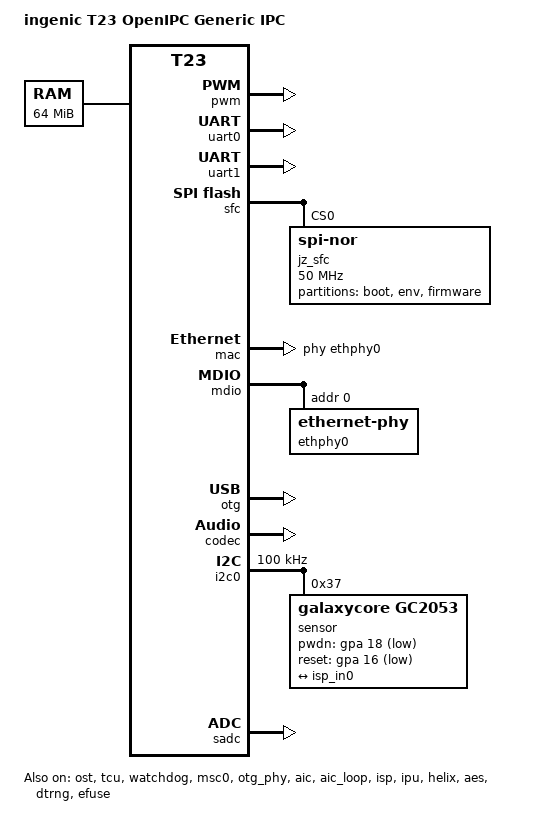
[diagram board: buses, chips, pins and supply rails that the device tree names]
// SPDX-License-Identifier: GPL-2.0
// Copyright (C) 2026 Difan Zhang
/dts-v1/;

#include "t23.dtsi"
#include <dt-bindings/gpio/gpio.h>

/ {
	model = "ingenic T23 OpenIPC Generic IPC";
	compatible = "openipc,t23", "ingenic,t23";

	aliases {
		serial0 = &uart0;
		serial1 = &uart1;
		serial2 = &uart2;
	};

	chosen {
		bootargs = "console=ttyS1,115200n8 root=/dev/mtdblock4 rootfstype=squashfs init=/init";
		stdout-path = "serial1:115200n8";
	};

	memory@0 {
		device_type = "memory";
		reg = <0x00000000 0x04000000>;
	};

	reserved-memory {
		#address-cells = <1>;
		#size-cells = <1>;
		ranges;

		camera {
			compatible = "shared-dma-pool";
			size = <0x01800000>;
			alloc-ranges = <0x02800000 0x01800000>;
			reusable;
			linux,cma-default;
		};
	};

	sound {
		compatible = "simple-audio-card";
		simple-audio-card,name = "t23-audio";
		#address-cells = <1>;
		#size-cells = <0>;

		simple-audio-card,widgets =
			"Speaker", "Speaker",
			"Microphone", "Mic";
		simple-audio-card,routing =
			"Speaker", "LOUT",
			"Speaker", "ROUT",
			"MICIN", "Mic";

		simple-audio-card,dai-link@0 {
			reg = <0>;
			format = "i2s";
			bitclock-master = <&sound_codec>;
			frame-master = <&sound_codec>;

			cpu {
				sound-dai = <&aic>;
			};

			sound_codec: codec {
				sound-dai = <&codec 0>;
			};
		};

		simple-audio-card,dai-link@1 {
			reg = <1>;

			cpu {
				sound-dai = <&aic_loop>;
			};

			codec {
				sound-dai = <&codec 1>;
			};
		};
	};
};

&pinctrl {
	status = "okay";
};

&ost {
	status = "okay";
};

&tcu {
	status = "okay";
};

&pwm {
	status = "okay";
};

&watchdog {
	status = "okay";
};

&pdma {
	status = "okay";
};

&uart0 {
	pinctrl-names = "default";
	pinctrl-0 = <&pins_uart0_b>;
	status = "okay";
};

&uart1 {
	pinctrl-names = "default";
	pinctrl-0 = <&pins_uart1_b>;
	status = "okay";
};

&sfc {
	pinctrl-names = "default";
	pinctrl-0 = <&pins_sfc>;
	status = "okay";

	flash@0 {
		compatible = "jedec,spi-nor";
		reg = <0>;
		label = "jz_sfc";
		spi-max-frequency = <50000000>;
		spi-rx-bus-width = <2>;
		spi-tx-bus-width = <2>;

		partitions {
			compatible = "fixed-partitions";
			#address-cells = <1>;
			#size-cells = <1>;

			partition@0 {
				label = "boot";
				reg = <0x000000 0x040000>;
			};

			partition@40000 {
				label = "env";
				reg = <0x040000 0x010000>;
			};

			partition@50000 {
				compatible = "openipc,uimage-firmware";
				reg = <0x050000 0x0>;
				label = "firmware";
			};
		};
	};
};

&msc0 {
	pinctrl-names = "default";
	pinctrl-0 = <&pins_mmc0>;
	bus-width = <4>;
	max-frequency = <25000000>;
	cd-gpios = <&gpb 27 GPIO_ACTIVE_LOW>;
	status = "okay";
};

&mac {
	phy-handle = <&ethphy0>;
	status = "okay";
};

&mdio {
	status = "okay";

	ethphy0: ethernet-phy@0 {
		reg = <0>;
	};
};

&otg_phy {
	status = "okay";
};

&otg {
	status = "okay";
};

&aic {
	status = "okay";
};

&aic_loop {
	status = "okay";
};

&codec {
	status = "okay";
};

&i2c0 {
	pinctrl-names = "default";
	pinctrl-0 = <&pins_i2c0>;
	clock-frequency = <100000>;
	status = "okay";

	sensor@37 {
		compatible = "galaxycore,gc2053";
		reg = <0x37>;
		clocks = <&cgu CLK_CGU_CIM>;
		clock-names = "xvclk";
		pwdn-gpios = <&gpa 18 GPIO_ACTIVE_LOW>;
		reset-gpios = <&gpa 16 GPIO_ACTIVE_LOW>;

		port {
			gc2053_out: endpoint {
				remote-endpoint = <&isp_in0>;
				clock-lanes = <0>;
				data-lanes = <1 2>;
				link-frequencies = /bits/ 64 <297000000>;
			};
		};
	};
};

&isp {
	assigned-clocks = <&cgu CLK_CGU_ISP>;
	assigned-clock-parents = <&cgu CLK_SCLKA>;
	assigned-clock-rates = <240000000>;
	pinctrl-names = "default";
	pinctrl-0 = <&pins_cim_mclk>;
	status = "okay";

	ports {
		#address-cells = <1>;
		#size-cells = <0>;

		port@0 {
			reg = <0>;
			isp_in0: endpoint {
				remote-endpoint = <&gc2053_out>;
				clock-lanes = <0>;
				data-lanes = <1 2>;
			};
		};
	};
};

&ipu {
	status = "okay";
};

&helix {
	assigned-clocks = <&cgu CLK_CGU_VPU>;
	assigned-clock-rates = <450000000>;
	status = "okay";
};

&aes {
	status = "okay";
};

&dtrng {
	status = "okay";
};

&sadc {
	status = "okay";
};

&efuse {
	status = "okay";
};
